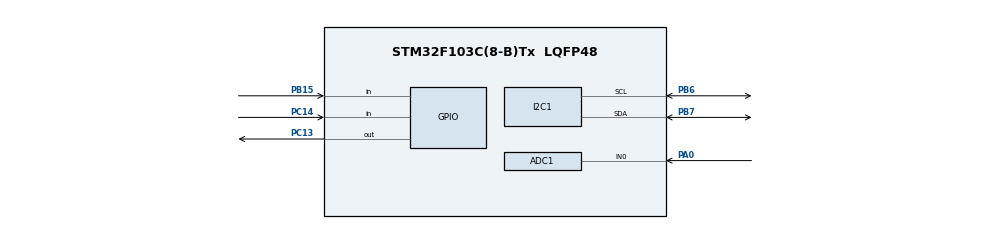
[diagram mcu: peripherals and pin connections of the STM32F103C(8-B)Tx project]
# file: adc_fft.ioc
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ADC1.Channel-0\#ChannelRegularConversion=ADC_CHANNEL_0
ADC1.ContinuousConvMode=ENABLE
ADC1.NbrOfConversionFlag=1
ADC1.Rank-0\#ChannelRegularConversion=1
ADC1.SamplingTime-0\#ChannelRegularConversion=ADC_SAMPLETIME_1CYCLE_5
ADC1.master=1
ARM.CMSIS-DSP.1.16.2.CMSISJjDSP=Source
ARM.CMSIS.6.2.0.CMSISJjCORE=true
Dma.ADC1.0.Direction=DMA_PERIPH_TO_MEMORY
Dma.ADC1.0.Instance=DMA1_Channel1
Dma.ADC1.0.MemDataAlignment=DMA_MDATAALIGN_WORD
Dma.ADC1.0.MemInc=DMA_MINC_ENABLE
Dma.ADC1.0.Mode=DMA_NORMAL
Dma.ADC1.0.PeriphDataAlignment=DMA_PDATAALIGN_HALFWORD
Dma.ADC1.0.PeriphInc=DMA_PINC_DISABLE
Dma.ADC1.0.Priority=DMA_PRIORITY_HIGH
Dma.Request0=ADC1
Mcu.Family=STM32F1
Mcu.Name=STM32F103C(8-B)Tx
Mcu.Package=LQFP48
NVIC.DMA1_Channel1_IRQn=true\:0\:0\:false\:false\:true\:false\:true\:true
NVIC.PriorityGroup=NVIC_PRIORITYGROUP_4
PA0-WKUP.Signal=ADCx_IN0
PA13.Mode=Serial_Wire
PA13.Signal=SYS_JTMS-SWDIO
PA14.Mode=Serial_Wire
PA14.Signal=SYS_JTCK-SWCLK
PB15.GPIO_PuPd=GPIO_PULLUP
PB15.Signal=GPIO_Input
PB6.Mode=I2C
PB6.Signal=I2C1_SCL
PB7.Mode=I2C
PB7.Signal=I2C1_SDA
PC13-TAMPER-RTC.Signal=GPIO_Output
PC14-OSC32_IN.GPIO_PuPd=GPIO_PULLUP
PC14-OSC32_IN.Signal=GPIO_Input
ProjectManager.HeapSize=0x200
ProjectManager.StackSize=0x400
ProjectManager.TargetToolchain=STM32CubeIDE
RCC.APB1Freq_Value=8000000
RCC.APB2Freq_Value=8000000
SH.ADCx_IN0.0=ADC1_IN0,IN0
VP_ARM.CMSIS-DSP_VS_CMSISJjDSP_1.16.2_1.16.2.Mode=CMSISJjDSP
VP_ARM.CMSIS_VS_CMSISJjCORE_6.1.1_6.2.0.Mode=CMSISJjCORE
board=custom

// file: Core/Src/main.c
/* USER CODE BEGIN Header */
/**
  ******************************************************************************
  MADE BY RASBI
  ******************************************************************************
  */
/* USER CODE END Header */
#include "main.h"

/* USER CODE BEGIN Includes */
#include "arm_math.h"

#include "i2c_lcd.h"

#include <stdio.h>
#include <string.h>
/* USER CODE END Includes */

/* USER CODE BEGIN PD */
//i2c lcd 주소
#define lcd_address 0x3F

//FFT 샘플 사이즈
#define sample_size 1024
/* USER CODE END PD */

ADC_HandleTypeDef hadc1;
DMA_HandleTypeDef hdma_adc1;

I2C_HandleTypeDef hi2c1;

/* USER CODE BEGIN PV */

// FFT 버퍼 배열, 4KB
uint32_t samples[sample_size];

// FFT 결과 담는 배열
float32_t fft[sample_size];
arm_rfft_fast_instance_f32 arfi32;

//ADC 변환 상태 확인용 플래그 변수
volatile uint8_t flags;

//함수 결과 담을 변수
arm_status status;

I2C_LCD_HandleTypeDef lcd1;

//LCD 출력용. 끝에는 널 문자.
char text [17]; //16+\n = 17

//주파수 탐색용 카운터
int16_t counter;

/* USER CODE END PV */

void SystemClock_Config(void);
static void MX_GPIO_Init(void);
static void MX_DMA_Init(void);
static void MX_ADC1_Init(void);
static void MX_I2C1_Init(void);

int main(void)
{

  /* MCU Configuration--------------------------------------------------------*/

  /* Reset of all peripherals, Initializes the Flash interface and the Systick. */
  HAL_Init();

  /* USER CODE BEGIN Init */
	// lcd 라이브러리 초기화 작업
  lcd1.address = lcd_address << 1;
  lcd1.hi2c = &hi2c1;
  /* USER CODE END Init */

  /* Configure the system clock */
  SystemClock_Config();

  /* Initialize all configured peripherals */
  MX_GPIO_Init();
  MX_DMA_Init();
  MX_ADC1_Init();
  MX_I2C1_Init();
  /* USER CODE BEGIN 2 */

// 초기화 작업
  flags = 0;
  status = arm_rfft_fast_init_1024_f32(&arfi32);
//ADC 시작
  HAL_ADC_Start_DMA(&hadc1, samples, sample_size);

//LCD 초기화
  lcd_init(&lcd1);
  lcd_clear(&lcd1);
  sprintf(text,"initializing...");
  lcd_gotoxy(&lcd1, 0, 0);
  lcd_puts(&lcd1, text);

  /* USER CODE END 2 */

  /* Infinite loop */
  while (1)
  {

    /* USER CODE BEGIN 3 */
	  //ADC 변환 완료되었나 플래그 값을 확인
	  while (flags == 0);
	  if (flags == 1) {
		  for (int i = 0; i<(sizeof(samples)/sizeof(samples[0])); i++) { // sizeof는 전체 사이즈를 반환하므로 주의
			  fft[i] = (float32_t)(samples[i]); // 함수 인자에 맞게 형변환
		  }
		  arm_rfft_fast_f32(&arfi32, fft, fft, 0); //결과는 복소수 크기
		  arm_cmplx_mag_f32(fft, fft, sample_size/2); //magnitude로 변환, rfft 결과는 입력한 데이터 수의 절반.
		  flags = 2; // 변환 완료했으므로 플래그를 쓰레기값으로 변경
	  }

	  //다음 주파수 탐색
	  if (HAL_GPIO_ReadPin(GPIOA, GPIO_PIN_5)==0) {
		  counter +=1;
		  if (counter > 511) {
			  counter = 0;
		  }
		  lcd_gotoxy(&lcd1, 0, 0);
		  lcd_clear(&lcd1);

		  sprintf(text,"freq: %.2f KHz",279*counter/1000.0f);
		  lcd_puts(&lcd1, text);

		  sprintf(text,"mag: %f",fft[counter]);
		  lcd_gotoxy(&lcd1, 0, 1);
		  lcd_puts(&lcd1, text);

	  // 다시 FFT를 수행
	  } else if (HAL_GPIO_ReadPin(GPIOB, GPIO_PIN_15)==0) {
		  flags = 0;
		  HAL_ADC_Start_DMA(&hadc1, samples, sample_size);

		  lcd_gotoxy(&lcd1, 0, 0);
		  lcd_clear(&lcd1);

		  sprintf(text,"RESET");
		  lcd_puts(&lcd1, text);

	  //이전 주파수 탐색
	  } else if (HAL_GPIO_ReadPin(GPIOC, GPIO_PIN_14)==0) {
		  counter -= 1;
		  if (counter < 0) {
			  counter = 511;
		  }
		  lcd_gotoxy(&lcd1, 0, 0);
		  lcd_clear(&lcd1);

		  sprintf(text,"freq: %.2f KHz",279*counter/1000.0f);
		  lcd_puts(&lcd1, text);

		  sprintf(text,"mag: %f",fft[counter]);
		  lcd_gotoxy(&lcd1, 0, 1);
		  lcd_puts(&lcd1, text);

	  }

  }
  /* USER CODE END 3 */
}

void SystemClock_Config(void)
{
  RCC_OscInitTypeDef RCC_OscInitStruct = {0};
  RCC_ClkInitTypeDef RCC_ClkInitStruct = {0};
  RCC_PeriphCLKInitTypeDef PeriphClkInit = {0};

  /** Initializes the RCC Oscillators according to the specified parameters
  * in the RCC_OscInitTypeDef structure.
  */
  RCC_OscInitStruct.OscillatorType = RCC_OSCILLATORTYPE_HSI;
  RCC_OscInitStruct.HSIState = RCC_HSI_ON;
  RCC_OscInitStruct.HSICalibrationValue = RCC_HSICALIBRATION_DEFAULT;
  RCC_OscInitStruct.PLL.PLLState = RCC_PLL_NONE;
  if (HAL_RCC_OscConfig(&RCC_OscInitStruct) != HAL_OK)
  {
    Error_Handler();
  }

  /** Initializes the CPU, AHB and APB buses clocks
  */
  RCC_ClkInitStruct.ClockType = RCC_CLOCKTYPE_HCLK|RCC_CLOCKTYPE_SYSCLK
                              |RCC_CLOCKTYPE_PCLK1|RCC_CLOCKTYPE_PCLK2;
  RCC_ClkInitStruct.SYSCLKSource = RCC_SYSCLKSOURCE_HSI;
  RCC_ClkInitStruct.AHBCLKDivider = RCC_SYSCLK_DIV1;
  RCC_ClkInitStruct.APB1CLKDivider = RCC_HCLK_DIV1;
  RCC_ClkInitStruct.APB2CLKDivider = RCC_HCLK_DIV1;

  if (HAL_RCC_ClockConfig(&RCC_ClkInitStruct, FLASH_LATENCY_0) != HAL_OK)
  {
    Error_Handler();
  }
  PeriphClkInit.PeriphClockSelection = RCC_PERIPHCLK_ADC;
  PeriphClkInit.AdcClockSelection = RCC_ADCPCLK2_DIV2;
  if (HAL_RCCEx_PeriphCLKConfig(&PeriphClkInit) != HAL_OK)
  {
    Error_Handler();
  }
}

static void MX_ADC1_Init(void)
{

  ADC_ChannelConfTypeDef sConfig = {0};

  /** Common config
  */
  hadc1.Instance = ADC1;
  hadc1.Init.ScanConvMode = ADC_SCAN_DISABLE;
  hadc1.Init.ContinuousConvMode = ENABLE;
  hadc1.Init.DiscontinuousConvMode = DISABLE;
  hadc1.Init.ExternalTrigConv = ADC_SOFTWARE_START;
  hadc1.Init.DataAlign = ADC_DATAALIGN_RIGHT;
  hadc1.Init.NbrOfConversion = 1;
  if (HAL_ADC_Init(&hadc1) != HAL_OK)
  {
    Error_Handler();
  }

  /** Configure Regular Channel
  */
  sConfig.Channel = ADC_CHANNEL_0;
  sConfig.Rank = ADC_REGULAR_RANK_1;
  sConfig.SamplingTime = ADC_SAMPLETIME_1CYCLE_5;
  if (HAL_ADC_ConfigChannel(&hadc1, &sConfig) != HAL_OK)
  {
    Error_Handler();
  }

}

static void MX_I2C1_Init(void)
{

  hi2c1.Instance = I2C1;
  hi2c1.Init.ClockSpeed = 100000;
  hi2c1.Init.DutyCycle = I2C_DUTYCYCLE_2;
  hi2c1.Init.OwnAddress1 = 0;
  hi2c1.Init.AddressingMode = I2C_ADDRESSINGMODE_7BIT;
  hi2c1.Init.DualAddressMode = I2C_DUALADDRESS_DISABLE;
  hi2c1.Init.OwnAddress2 = 0;
  hi2c1.Init.GeneralCallMode = I2C_GENERALCALL_DISABLE;
  hi2c1.Init.NoStretchMode = I2C_NOSTRETCH_DISABLE;
  if (HAL_I2C_Init(&hi2c1) != HAL_OK)
  {
    Error_Handler();
  }

}

static void MX_DMA_Init(void)
{

  /* DMA controller clock enable */
  __HAL_RCC_DMA1_CLK_ENABLE();

  /* DMA interrupt init */
  /* DMA1_Channel1_IRQn interrupt configuration */
  HAL_NVIC_SetPriority(DMA1_Channel1_IRQn, 0, 0);
  HAL_NVIC_EnableIRQ(DMA1_Channel1_IRQn);

}

static void MX_GPIO_Init(void)
{
  GPIO_InitTypeDef GPIO_InitStruct = {0};

  /* GPIO Ports Clock Enable */
  __HAL_RCC_GPIOC_CLK_ENABLE();
  __HAL_RCC_GPIOA_CLK_ENABLE();
  __HAL_RCC_GPIOB_CLK_ENABLE();

  /*Configure GPIO pin Output Level */
  HAL_GPIO_WritePin(GPIOC, GPIO_PIN_13, GPIO_PIN_RESET);

  /*Configure GPIO pin : PC13 */
  GPIO_InitStruct.Pin = GPIO_PIN_13;
  GPIO_InitStruct.Mode = GPIO_MODE_OUTPUT_PP;
  GPIO_InitStruct.Pull = GPIO_NOPULL;
  GPIO_InitStruct.Speed = GPIO_SPEED_FREQ_LOW;
  HAL_GPIO_Init(GPIOC, &GPIO_InitStruct);

  /*Configure GPIO pin : PC14 */
  GPIO_InitStruct.Pin = GPIO_PIN_14;
  GPIO_InitStruct.Mode = GPIO_MODE_INPUT;
  GPIO_InitStruct.Pull = GPIO_PULLUP;
  HAL_GPIO_Init(GPIOC, &GPIO_InitStruct);

  /*Configure GPIO pin : PB15 */
  GPIO_InitStruct.Pin = GPIO_PIN_15;
  GPIO_InitStruct.Mode = GPIO_MODE_INPUT;
  GPIO_InitStruct.Pull = GPIO_PULLUP;
  HAL_GPIO_Init(GPIOB, &GPIO_InitStruct);

}

/* USER CODE BEGIN 4 */
//ADC 변환 완료시 플래그 값을 변경
void HAL_ADC_ConvCpltCallback(ADC_HandleTypeDef* hadc1) {
	HAL_ADC_Stop_DMA(hadc1);
	flags = 1;
}
/* USER CODE END 4 */

void Error_Handler(void)
{
  __disable_irq();
  while (1)
  {
  }
}
